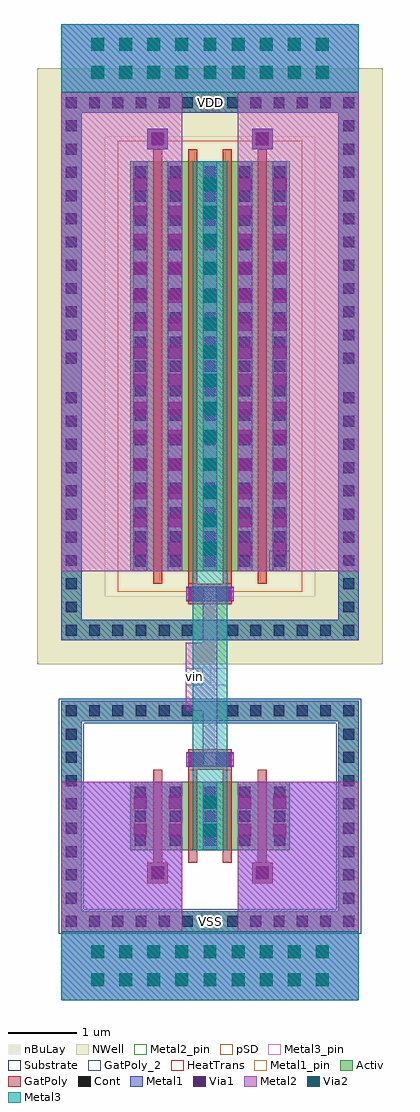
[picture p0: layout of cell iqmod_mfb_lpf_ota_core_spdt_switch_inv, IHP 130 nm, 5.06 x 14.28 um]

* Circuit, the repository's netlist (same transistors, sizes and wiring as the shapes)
** sch_path: /foss/designs/TinyWhisper/ihp130/macros/iqmod/xschem/iqmod_mfb_lpf_ota_core_spdt_switch_inv.sch
.subckt iqmod_mfb_lpf_ota_core_spdt_switch_inv nwell psub VDD vin vout VSS
*.PININFO vin:I VDD:B VSS:B vout:B nwell:B psub:B
MM1 vout vin VSS psub sg13_lv_nmos w=2.0u l=0.13u ng=2
MM2 vout vin VDD nwell sg13_lv_pmos w=12.0u l=0.13u ng=2
MMdummy1 VSS VSS VSS psub sg13_lv_nmos w=2.0u l=0.13u ng=2
MMdummy2 VDD VDD VDD nwell sg13_lv_pmos w=12.0u l=0.13u ng=2
RR1 VDD nwell ntap1 A=7.068e-12 P=4.712e-05
RR2 VSS psub ptap1 A=4.284e-12 P=2.856e-05
.ends

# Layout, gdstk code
from math import pi, radians
import gdstk
lib = gdstk.Library(unit=1e-6, precision=5e-09)
def R(c, l, rs):  # rectangles x0, y0, x1, y1
    for r in rs: c.add(gdstk.rectangle(r[:2], r[2:], *l))
def A(c, l, x, y, w, h, nx, ny, dx, dy):  # array of equal rectangles
    R(c, l, [(x+i*dx, y+j*dy, x+i*dx+w, y+j*dy+h) for i in range(nx) for j in range(ny)])
def P(c, l, *ps):  # polygons
    for p in ps: c.add(gdstk.Polygon(p, *l))
Activ = (1, 0)
GatPoly = (5, 0)
GatPoly_2 = (5, 2)
Cont = (6, 0)
Metal1 = (8, 0)
Metal1_pin = (8, 2)
Metal2 = (10, 0)
Metal2_pin = (10, 2)
pSD = (14, 0)
Via1 = (19, 0)
Via2 = (29, 0)
Metal3 = (30, 0)
Metal3_pin = (30, 2)
NWell = (31, 0)
nBuLay = (32, 0)
Substrate = (40, 0)
HeatTrans = (51, 0)

nmos = lib.new_cell('nmos')
A(nmos, Activ, 0, 0, 0.3, 0.3, 5, 1, 0.51, 0)
R(nmos, Activ, [(-1.01,-0.89,-0.71,1.89), (3.05,-0.89,3.35,1.89), (0,0,2.34,1), (-1.01,1.89,3.35,2.19)])
P(nmos, Activ, [(-1.01,-1.19),(-1.01,1.89),(-0.71,1.89),(-0.71,-0.89),(3.05,-0.89),(3.05,1.89),(-1.01,1.89),(-1.01,2.19),(3.35,2.19),(3.35,-1.19)])
A(nmos, GatPoly, 0.34, -0.18, 0.13, 1.36, 4, 1, 0.51, 0)
R(nmos, GatPoly_2, [(0.34,-0.18,0.47,1.18)])
A(nmos, Cont, -0.94, -1.12, 0.16, 0.16, 6, 2, 0.34, 3.08)
A(nmos, Cont, 1.42, -1.12, 0.16, 0.16, 6, 2, 0.34, 3.08)
A(nmos, Cont, -0.94, -0.78, 0.16, 0.16, 1, 4, 0, 0.34)
A(nmos, Cont, 3.12, -0.78, 0.16, 0.16, 1, 4, 0, 0.34)
A(nmos, Cont, 0.07, 0.07, 0.16, 0.16, 5, 3, 0.51, 0.35)
A(nmos, Cont, -0.94, 0.6, 0.16, 0.16, 1, 4, 0, 0.34)
A(nmos, Cont, 3.12, 0.6, 0.16, 0.16, 1, 4, 0, 0.34)
A(nmos, Metal1, 0.07, 0, 0.16, 1, 5, 1, 0.51, 0)
R(nmos, Metal1, [(-1.01,-1.19,3.35,-0.89), (-1.01,-0.89,-0.71,1.89), (3.05,-0.89,3.35,1.89), (-1.01,1.89,3.35,2.19)])
R(nmos, Metal1_pin, [(0.07,0,0.23,1), (0.58,0,0.74,1)])
R(nmos, pSD, [(-1.04,-0.86,-0.68,1.86), (3.02,-0.86,3.38,1.86), (-1.04,1.86,3.38,2.22)])
P(nmos, pSD, [(-1.04,-1.22),(-1.04,1.86),(-0.68,1.86),(-0.68,-0.86),(3.02,-0.86),(3.02,1.86),(-1.04,1.86),(-1.04,2.22),(3.38,2.22),(3.38,-1.22)])
R(nmos, Substrate, [(-1.04,-0.86,-0.68,1.86), (3.02,-0.86,3.38,1.86), (-1.04,1.86,3.38,2.22)])
P(nmos, Substrate, [(-1.04,-1.22),(-1.04,1.86),(-0.68,1.86),(-0.68,-0.86),(3.02,-0.86),(3.02,1.86),(-1.04,1.86),(-1.04,2.22),(3.38,2.22),(3.38,-1.22)])
A(nmos, HeatTrans, 0.34, -0.18, 0.13, 1.36, 4, 1, 0.51, 0)
nmos.add(gdstk.Label('nmos', (0.405,0.5), layer=63, texttype=0))
nmos.add(gdstk.Label('sub!', (1.17,-1.04), layer=63, texttype=0))
nmos.add(gdstk.Label('nmos', (0.405,0.5), layer=51, texttype=0))
nmos.add(gdstk.Label('nmos', (0.915,0.5), layer=51, texttype=0))
nmos.add(gdstk.Label('nmos', (1.425,0.5), layer=51, texttype=0))
nmos.add(gdstk.Label('nmos', (1.935,0.5), layer=51, texttype=0))

pmos_1 = lib.new_cell('pmos$1')
A(pmos_1, Activ, 0, 0, 0.3, 0.3, 5, 1, 0.51, 0)
R(pmos_1, Activ, [(-1.01,-0.71,-0.71,6.71), (3.05,-0.71,3.35,6.71), (0,0,2.34,6), (-1.01,6.71,3.35,7.01)])
P(pmos_1, Activ, [(-1.01,-1.01),(-1.01,6.71),(-0.71,6.71),(-0.71,-0.71),(3.05,-0.71),(3.05,6.71),(-1.01,6.71),(-1.01,7.01),(3.35,7.01),(3.35,-1.01)])
A(pmos_1, GatPoly, 0.34, -0.18, 0.13, 6.36, 4, 1, 0.51, 0)
R(pmos_1, GatPoly, [(0.34,-0.18,0.47,6.18)])
A(pmos_1, Cont, -0.94, -0.94, 0.16, 0.16, 6, 2, 0.34, 7.72)
A(pmos_1, Cont, 1.42, -0.94, 0.16, 0.16, 6, 2, 0.34, 7.72)
A(pmos_1, Cont, -0.94, -0.6, 0.16, 0.16, 1, 10, 0, 0.34)
A(pmos_1, Cont, 3.12, -0.6, 0.16, 0.16, 1, 10, 0, 0.34)
A(pmos_1, Cont, 0.07, 0.07, 0.16, 0.16, 5, 4, 0.51, 0.355)
A(pmos_1, Cont, 0.07, 1.495, 0.16, 0.16, 5, 4, 0.51, 0.355)
A(pmos_1, Cont, 0.07, 2.92, 0.16, 0.16, 5, 4, 0.51, 0.355)
A(pmos_1, Cont, -0.94, 3.04, 0.16, 0.16, 1, 11, 0, 0.34)
A(pmos_1, Cont, 3.12, 3.04, 0.16, 0.16, 1, 11, 0, 0.34)
A(pmos_1, Cont, 0.07, 4.345, 0.16, 0.16, 5, 4, 0.51, 0.355)
A(pmos_1, Cont, 0.07, 5.77, 0.16, 0.16, 5, 1, 0.51, 0)
A(pmos_1, Metal1, 0.58, 0, 0.16, 6, 4, 1, 0.51, 0)
R(pmos_1, Metal1, [(-1.01,-1.01,3.35,-0.71), (-1.01,-0.71,-0.71,6.71), (3.05,-0.71,3.35,6.71), (0.07,0,0.23,6), (0.07,0,0.23,6), (0.58,0,0.74,6), (-1.01,6.71,3.35,7.01)])
R(pmos_1, pSD, [(-0.18,-0.3,2.52,6.3)])
R(pmos_1, NWell, [(-1.36,-1.36,3.7,7.36), (-0.31,-0.31,2.65,6.31)])
R(pmos_1, nBuLay, [(-1.36,-0.36,-0.36,6.36), (2.7,-0.36,3.7,6.36), (-1.36,6.36,3.7,7.36)])
P(pmos_1, nBuLay, [(-1.36,-1.36),(-1.36,6.36),(-0.36,6.36),(-0.36,-0.36),(2.7,-0.36),(2.7,6.36),(-1.36,6.36),(-1.36,7.36),(3.7,7.36),(3.7,-1.36)])
R(pmos_1, Substrate, [(2.04,0,2.34,0.3)])
A(pmos_1, HeatTrans, 0.34, -0.18, 0.13, 6.36, 4, 1, 0.51, 0)
pmos_1.add(gdstk.Label('pmos', (0.405,3), layer=63, texttype=0))
pmos_1.add(gdstk.Label('well', (1.17,-0.86), layer=63, texttype=0))
pmos_1.add(gdstk.Label('pmos', (0.405,3), layer=51, texttype=0))
pmos_1.add(gdstk.Label('pmos', (0.915,3), layer=51, texttype=0))
pmos_1.add(gdstk.Label('pmos', (1.425,3), layer=51, texttype=0))
pmos_1.add(gdstk.Label('pmos', (1.935,3), layer=51, texttype=0))

via_stack_1 = lib.new_cell('via_stack$1')
R(via_stack_1, GatPoly, [(-0.32,-0.15,0.32,0.15)])
R(via_stack_1, Cont, [(-0.25,-0.08,-0.09,0.08), (0.09,-0.08,0.25,0.08)])
R(via_stack_1, Metal1, [(-0.35,-0.105,0.35,0.105)])
R(via_stack_1, Metal2, [(-0.35,-0.1,0.35,0.1)])
R(via_stack_1, Via1, [(-0.3,-0.095,-0.11,0.095), (0.11,-0.095,0.3,0.095)])

via_stack_6 = lib.new_cell('via_stack$6')
R(via_stack_6, GatPoly, [(-0.15,-0.15,0.15,0.15)])
R(via_stack_6, Cont, [(-0.08,-0.08,0.08,0.08)])
R(via_stack_6, Metal1, [(-0.145,-0.105,0.145,0.105)])
R(via_stack_6, Metal2, [(-0.145,-0.1,0.145,0.1)])
R(via_stack_6, Via1, [(-0.095,-0.095,0.095,0.095)])

via_stack_3 = lib.new_cell('via_stack$3')
R(via_stack_3, Metal1, [(-0.105,-0.35,0.105,0.35)])
R(via_stack_3, Metal2, [(-0.1,-0.35,0.1,0.35)])
R(via_stack_3, Via1, [(-0.095,-0.3,0.095,-0.11), (-0.095,0.11,0.095,0.3)])
R(via_stack_3, Via2, [(-0.095,-0.3,0.095,-0.11), (-0.095,0.11,0.095,0.3)])
R(via_stack_3, Metal3, [(-0.1,-0.35,0.1,0.35)])

via_stack = lib.new_cell('via_stack')
R(via_stack, Metal1, [(-0.105,-2.81,0.105,2.81)])
R(via_stack, Metal2, [(-0.1,-2.81,0.1,2.81)])
A(via_stack, Via1, -0.095, -2.76, 0.19, 0.19, 1, 14, 0, 0.41)
A(via_stack, Via2, -0.095, -2.76, 0.19, 0.19, 1, 14, 0, 0.41)
R(via_stack, Metal3, [(-0.1,-2.81,0.1,2.81)])

via_stack_8 = lib.new_cell('via_stack$8')
R(via_stack_8, Metal1, [(-1.785,-0.31,1.785,0.31)])
R(via_stack_8, Metal2, [(-1.785,-0.305,1.785,0.305)])
A(via_stack_8, Via1, -1.735, -0.3, 0.19, 0.19, 9, 2, 0.41, 0.41)
A(via_stack_8, Via2, -1.735, -0.3, 0.19, 0.19, 9, 2, 0.41, 0.41)
R(via_stack_8, Metal3, [(-1.785,-0.305,1.785,0.305)])

via_stack_7 = lib.new_cell('via_stack$7')
R(via_stack_7, Metal1, [(-0.105,-0.35,0.105,0.35)])
R(via_stack_7, Metal2, [(-0.1,-0.35,0.1,0.35)])
R(via_stack_7, Via1, [(-0.095,-0.3,0.095,-0.11), (-0.095,0.11,0.095,0.3)])

via_stack_10 = lib.new_cell('via_stack$10')
R(via_stack_10, Metal1, [(-0.105,-2.81,0.105,2.81)])
R(via_stack_10, Metal2, [(-0.1,-2.81,0.1,2.81)])
A(via_stack_10, Via1, -0.095, -2.76, 0.19, 0.19, 1, 14, 0, 0.41)

iqmod_mfb_lpf_ota_core_s = lib.new_cell('iqmod_mfb_lpf_ota_core_spdt_switch_inv')
A(iqmod_mfb_lpf_ota_core_s, Metal1, 1.405, 6.27, 0.21, 6, 5, 1, 0.51, 0)
R(iqmod_mfb_lpf_ota_core_s, Metal1, [(0.35,0,4.71,1), (0.35,1,2.125,3.19), (2.28,1,2.78,1.3), (2.935,1,4.71,3.19), (1.615,1.71,1.915,2.01), (3.145,1.71,3.445,2.01), (2.425,2.19,2.635,3.19), (1.615,12.45,1.915,12.75), (3.145,12.45,3.445,12.75), (2.28,12.98,2.78,13.28), (0.35,13.28,4.71,14.28)])
R(iqmod_mfb_lpf_ota_core_s, Metal1_pin, [(2.405,1.025,2.655,1.275), (2.405,13.005,2.655,13.255)])
A(iqmod_mfb_lpf_ota_core_s, Metal2, 1.405, 6.27, 0.21, 6, 5, 1, 0.51, 0)
R(iqmod_mfb_lpf_ota_core_s, Metal2, [(0.35,0,4.71,1), (0.35,1,2.125,3.19), (2.935,1,4.71,3.19), (1.615,1.71,1.915,2.01), (3.145,1.71,3.445,2.01), (2.425,2.19,2.635,3.19), (2.425,3.62,2.635,5.84), (2.175,4.23,2.425,5.23), (0.35,6.27,2.125,13.28), (0.35,6.27,2.125,13.28), (2.935,6.27,4.71,13.28), (2.935,6.27,4.71,13.28), (1.615,12.45,1.915,12.75), (3.145,12.45,3.445,12.75), (0.35,13.28,4.71,14.28)])
R(iqmod_mfb_lpf_ota_core_s, Metal2_pin, [(2.175,4.605,2.425,4.855)])
R(iqmod_mfb_lpf_ota_core_s, Metal3, [(0.35,0,4.71,1), (2.28,2.19,2.78,12.27), (2.425,2.19,2.635,3.19), (2.28,4.23,2.78,5.23), (2.425,6.27,2.635,12.27), (0.35,13.28,4.71,14.28)])
P(iqmod_mfb_lpf_ota_core_s, Metal3, [(3.03,4.98),(3.03,4.98),(3.03,4.98),(3.03,4.98)])
R(iqmod_mfb_lpf_ota_core_s, Metal3_pin, [(2.53,4.605,2.78,4.855)])
iqmod_mfb_lpf_ota_core_s.add(gdstk.Reference(nmos, (1.36,2.19)))
iqmod_mfb_lpf_ota_core_s.add(gdstk.Reference(pmos_1, (1.36,6.27)))
iqmod_mfb_lpf_ota_core_s.add(gdstk.Reference(via_stack_1, (2.53,3.52)))
iqmod_mfb_lpf_ota_core_s.add(gdstk.Reference(via_stack_1, (2.53,5.94)))
iqmod_mfb_lpf_ota_core_s.add(gdstk.Reference(via_stack_6, (1.765,1.86)))
iqmod_mfb_lpf_ota_core_s.add(gdstk.Reference(via_stack_3, (2.53,2.69)))
iqmod_mfb_lpf_ota_core_s.add(gdstk.Reference(via_stack_6, (3.295,1.86)))
iqmod_mfb_lpf_ota_core_s.add(gdstk.Reference(via_stack, (2.53,9.27)))
iqmod_mfb_lpf_ota_core_s.add(gdstk.Reference(via_stack_8, (2.53,0.5)))
iqmod_mfb_lpf_ota_core_s.add(gdstk.Reference(via_stack_7, (3.55,2.69)))
iqmod_mfb_lpf_ota_core_s.add(gdstk.Reference(via_stack_7, (3.04,2.69)))
iqmod_mfb_lpf_ota_core_s.add(gdstk.Reference(via_stack_7, (2.02,2.69)))
iqmod_mfb_lpf_ota_core_s.add(gdstk.Reference(via_stack_7, (1.51,2.69)))
iqmod_mfb_lpf_ota_core_s.add(gdstk.Reference(via_stack_8, (2.53,13.78)))
iqmod_mfb_lpf_ota_core_s.add(gdstk.Reference(via_stack_6, (3.295,12.6), rotation=pi, x_reflection=True))
iqmod_mfb_lpf_ota_core_s.add(gdstk.Reference(via_stack_6, (1.765,12.6)))
iqmod_mfb_lpf_ota_core_s.add(gdstk.Reference(via_stack_10, (1.51,9.27)))
iqmod_mfb_lpf_ota_core_s.add(gdstk.Reference(via_stack_10, (3.55,9.27), rotation=pi, x_reflection=True))
iqmod_mfb_lpf_ota_core_s.add(gdstk.Reference(via_stack_10, (2.02,9.27)))
iqmod_mfb_lpf_ota_core_s.add(gdstk.Reference(via_stack_10, (3.04,9.27), rotation=pi, x_reflection=True))
iqmod_mfb_lpf_ota_core_s.add(gdstk.Label('vin', (2.3,4.73), layer=10, texttype=25))
iqmod_mfb_lpf_ota_core_s.add(gdstk.Label('VDD', (2.53,13.13), layer=8, texttype=25))
iqmod_mfb_lpf_ota_core_s.add(gdstk.Label('VSS', (2.53,1.15), layer=8, texttype=25))
iqmod_mfb_lpf_ota_core_s.add(gdstk.Label('vout', (2.655,4.73), layer=30, texttype=25))

lib.write_gds('iqmod_mfb_lpf_ota_core_spdt_switch_inv.gds')
